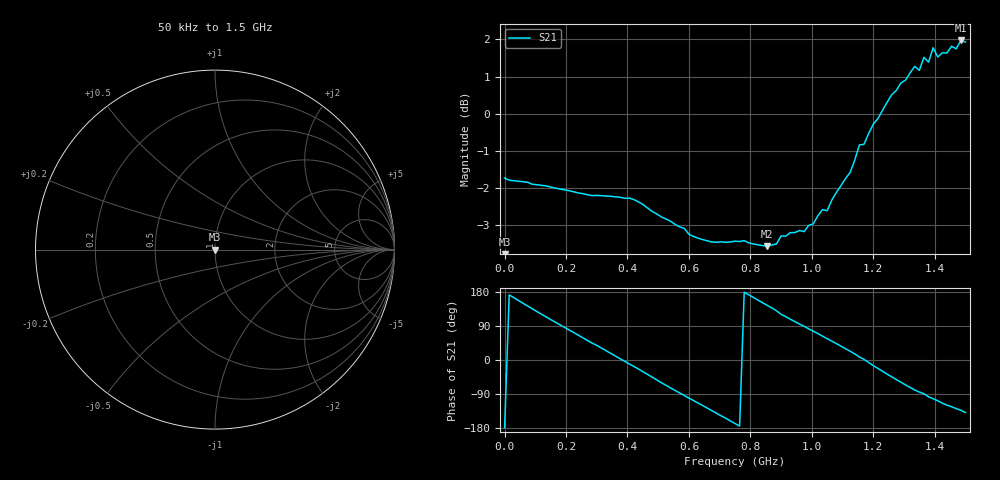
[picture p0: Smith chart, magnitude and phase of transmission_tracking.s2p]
! Created with skrf 1.8.0 (http://scikit-rf.org).
# Hz S RI R 50.0
!freq ReS11 ImS11 ReS21 ImS21 ReS12 ImS12 ReS22 ImS22
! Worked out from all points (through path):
!   101 points, 50 kHz to 1.5 GHz, reference 50 ohm
!   highest |S21| = 1.97 dB at 1.485 GHz (marker M1); lowest = -3.6 dB at 855 MHz (marker M2)
!   lowest |S11| = - dB at 50 kHz (marker M3), VSWR 1.00, Z = 50 + j0 ohm
!   |S11| at or under -10 dB: start of sweep to end of sweep
!   S12 and S22 are empty: the file has one direction only
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50000  0 0  -0.8187 -0.015  0 0  0 0
6.0048e7  0 0  -0.6986 0.4092  0 0  0 0
1.350455e8  0 0  -0.3217 0.7316  0 0  0 0
1.950435e8  0 0  0.0535 0.7876  0 0  0 0
2.550415e8  0 0  0.4076 0.6652  0 0  0 0
3.30039e8  0 0  0.7039 0.3225  0 0  0 0
3.90037e8  0 0  0.7677 -0.0422  0 0  0 0
4.50035e8  0 0  0.6486 -0.3852  0 0  0 0
5.10033e8  0 0  0.3672 -0.6261  0 0  0 0
6.150295e8  0 0  -0.2012 -0.6527  0 0  0 0
7.50025e8  0 0  -0.6573 -0.1447  0 0  0 0
8.550215e8  0 0  -0.5375 0.3878  0 0  0 0
9.30019e8  0 0  -0.21 0.6584  0 0  0 0
1.005016e9  0 0  0.1747 0.6885  0 0  0 0
1.080014e9  0 0  0.5689 0.5381  0 0  0 0
1.155012e9  0 0  0.8986 0.1261  0 0  0 0
1.20001e9  0 0  0.9351 -0.2485  0 0  0 0
1.260008e9  0 0  0.7579 -0.7412  0 0  0 0
1.320006e9  0 0  0.3459 -1.081  0 0  0 0
1.365004e9  0 0  0.024 -1.191  0 0  0 0
1.485e9  0 0  -0.8485 -0.9245  0 0  0 0
1.5e9  0 0  -0.9374 -0.825  0 0  0 0
